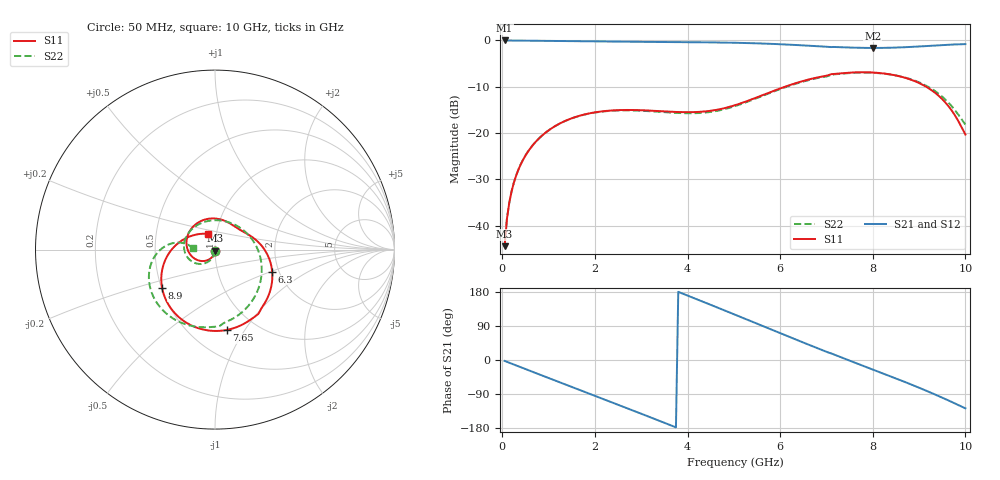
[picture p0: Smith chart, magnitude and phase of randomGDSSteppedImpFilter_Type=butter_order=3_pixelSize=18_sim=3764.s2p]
! freq	dB(S11)	phase(S11)	dB(S12)	phase(S12)
!  dB(S21)	phase(S21)	dB(S22)	phase(S22)
!S-par simulation data
#  GHz  S  DB  R 50
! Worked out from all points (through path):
!   200 points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, 50 MHz to 10 GHz, reference 50 ohm
!   highest |S21| = 0.00 dB at 50 MHz (marker M1); lowest = -1.6 dB at 8 GHz (marker M2)
!   group delay of S21, straight-line fit = 135 ps
!   lowest |S11| = -44.4 dB at 50 MHz (marker M3), VSWR 1.01, Z = 50 - j0.6 ohm
!   |S11| at or under -10 dB: start of sweep to 6.103 GHz; 9.152 GHz to end of sweep
!   |S22| runs from -44.4 to -6.9 dB; largest |S21 - S12| = 0
!   S11 on the Smith chart (normalised r, x): 50 MHz: 1.00, -0.01; 6.3 GHz: 1.84, -0.51; 7.65 GHz: 0.74, -0.83; 8.9 GHz: 0.50, -0.25; 10 GHz: 0.91, +0.16
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0.05  -44.43 -90.7  -0.00 -2.4  -0.00 -2.4  -44.43 -90.4
0.1  -38.55 -94.2  -0.01 -4.8  -0.01 -4.8  -38.54 -93.0
0.2  -32.62 -100.5  -0.02 -9.6  -0.02 -9.6  -32.61 -97.9
0.5  -24.86 -117.5  -0.05 -23.9  -0.05 -23.9  -24.86 -111.1
1.15  -18.44 -152.9  -0.13 -54.6  -0.13 -54.6  -18.45 -138.1
1.75  -16.05 174.5  -0.20 -82.8  -0.20 -82.8  -16.08 -162.3
2.5  -15.05 133.7  -0.28 -118.1  -0.28 -118.1  -15.13 167.8
2.95  -15.05 109.6  -0.31 -139.4  -0.31 -139.4  -15.17 149.2
3.4  -15.27 86.6  -0.33 -160.9  -0.33 -160.9  -15.43 129.0
3.8  -15.46 68.1  -0.36 179.8  -0.36 179.8  -15.67 108.9
4.2  -15.46 52.1  -0.39 160.4  -0.39 160.4  -15.70 85.8
5.05  -13.91 25.1  -0.51 118.4  -0.51 118.4  -14.12 29.4
5.65  -11.70 4.9  -0.68 88.3  -0.68 88.3  -11.85 -9.4
6.3  -9.34 -21.1  -0.96 55.9  -0.96 55.9  -9.48 -46.7
6.7  -8.23 -38.5  -1.18 36.3  -1.18 36.3  -8.36 -67.5
7.2  -7.21 -61.2  -1.42 12.6  -1.42 12.6  -7.31 -91.9
7.65  -6.89 -81.8  -1.58 -8.7  -1.58 -8.7  -6.98 -112.7
8  -6.93 -98.2  -1.62 -25.0  -1.62 -25.0  -6.99 -128.2
8.35  -7.29 -115.1  -1.58 -41.5  -1.58 -41.5  -7.31 -143.3
8.9  -8.76 -143.8  -1.36 -68.1  -1.36 -68.1  -8.65 -166.3
9.5  -12.69 177.2  -1.00 -99.3  -1.00 -99.3  -12.15 172.3
10  -20.32 113.9  -0.79 -127.6  -0.79 -127.6  -18.18 176.1
